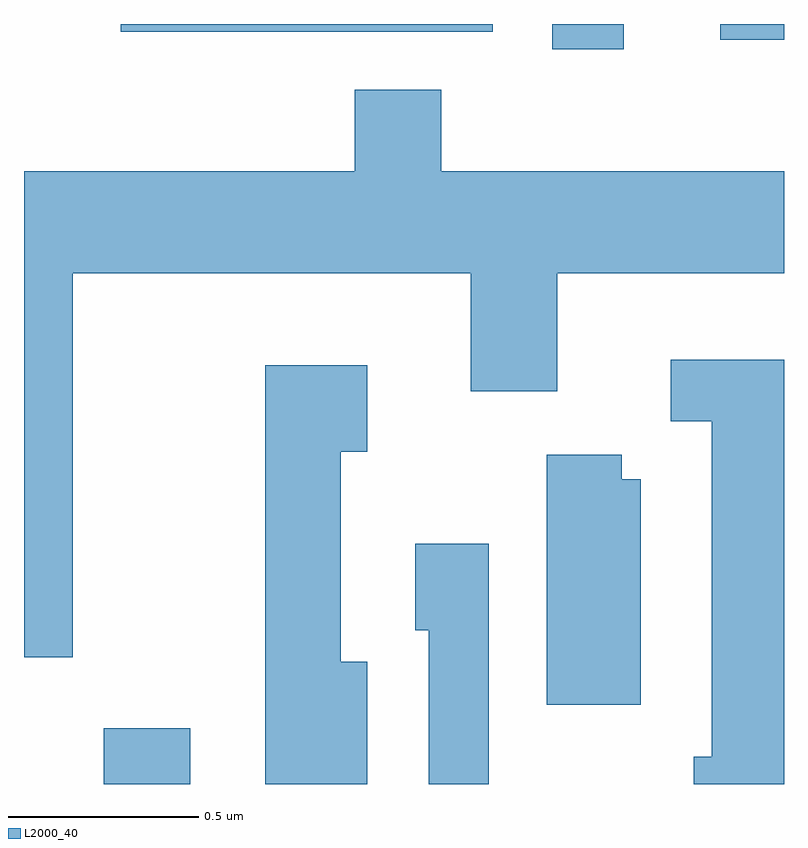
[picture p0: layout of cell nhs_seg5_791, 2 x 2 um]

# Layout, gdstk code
import gdstk
lib = gdstk.Library(unit=1e-6, precision=1e-09)
def R(c, l, rs):  # rectangles x0, y0, x1, y1
    for r in rs: c.add(gdstk.rectangle(r[:2], r[2:], *l))
def P(c, l, *ps):  # polygons
    for p in ps: c.add(gdstk.Polygon(p, *l))
L2000_40 = (2000, 40)

nhs_seg5_791 = lib.new_cell('nhs_seg5_791')
R(nhs_seg5_791, L2000_40, [(190.821,1502.072,191.049,1502.219), (192.001,1504.006,192.189,1504.072), (192.443,1504.031,192.611,1504.072), (190.866,1504.051,191.844,1504.072)])
P(nhs_seg5_791, L2000_40, [(190.739,1503.416),(191.786,1503.416),(191.786,1503.106),(192.014,1503.106),(192.014,1503.416),(192.611,1503.416),(192.611,1503.684),(191.709,1503.684),(191.709,1503.899),(191.481,1503.899),(191.481,1503.684),(190.611,1503.684),(190.611,1502.406),(190.739,1502.406)],
  [(192.611,1503.189),(192.313,1503.189),(192.313,1503.026),(192.421,1503.026),(192.421,1502.144),(192.373,1502.144),(192.373,1502.072),(192.611,1502.072)],
  [(191.514,1502.394),(191.444,1502.394),(191.444,1502.946),(191.514,1502.946),(191.514,1503.174),(191.246,1503.174),(191.246,1502.072),(191.514,1502.072)],
  [(192.234,1502.874),(192.184,1502.874),(192.184,1502.939),(191.986,1502.939),(191.986,1502.281),(192.234,1502.281)],
  [(191.834,1502.704),(191.641,1502.704),(191.641,1502.476),(191.676,1502.476),(191.676,1502.072),(191.834,1502.072)])

lib.write_gds('nhs_seg5_791.gds')
